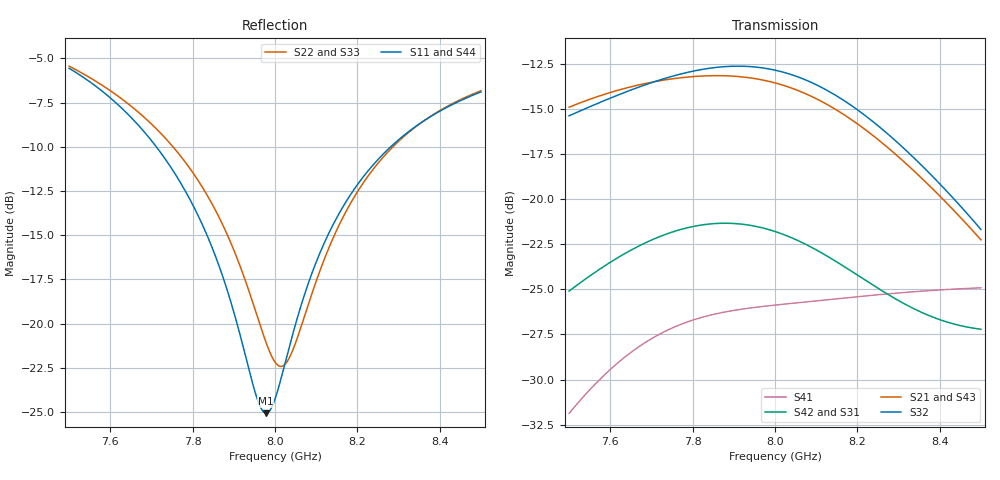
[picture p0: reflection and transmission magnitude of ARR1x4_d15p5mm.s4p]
! Touchstone file exported from HFSS 2025.1.0
!  File:  C:/Users/user/Documents/Ansoft/TFG_UWB-MIMO-Array.aedt
!  Generated:  05:34:56 PM Nov 20, 2026
!  Design:  ARR1x4_P01_MS2_dparam
!  Project:  TFG_UWB-MIMO-Array
!  Setup:  Setup_ch9
!  Solution:  Sweep_7p5_8p5
! Variables:
!  arr_d = 15.5mm
!  board_m = 13mm
!  board_x = 72.5mm
!  board_y = 26mm
!  cu_t = 0.035mm
!  line_w = 3.92mm
!  pad_xy = 22mm
!  pad_zn = 25mm
!  pad_zp = 33mm
!  patch_L = 7.322mm
!  patch_W = 11.421266mm
!  sub_h = 2.07mm
!  tr_l = 7.1mm
!  tr_w = 0.8mm
# GHz S MA R 50.000000
! Terminal data exported
! Port[1] = P1
! Port[2] = P2
! Port[3] = P3
! Port[4] = P4
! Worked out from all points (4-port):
!   1001 points, 7.5 GHz to 8.5 GHz, reference 50 ohm
!   strongest paths, dB at 7.5 GHz, 7.75 GHz, 8 GHz, 8.25 GHz, 8.5 GHz:
!     S32: -15.4, -13.2, -12.9, -15.9, -21.7
!     S21: -14.9, -13.3, -13.6, -16.7, -22.3
!     S43: -14.9, -13.4, -13.6, -16.7, -22.3
!     S42: -25.1, -21.8, -21.8, -24.9, -27.2
!     S31: -25.1, -21.8, -21.8, -25.0, -27.3
!     S41: -31.9, -27.1, -25.9, -25.3, -24.9
!   lowest |S11| = -25.1 dB at 7.978 GHz (marker M1), VSWR 1.12, Z = 55.3 + j2.51 ohm
!   |S11| at or under -10 dB: 7.712 GHz to 8.281 GHz (569.4 MHz wide, 7.12 % of centre)
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7.5  0.5269 160.5  0.1796 -18.7  0.05555 -140.3  0.0255 70.6
     0.1796 -18.7  0.5341 165.2  0.17 -15.3  0.05561 -140.6
     0.05555 -140.3  0.17 -15.3  0.5331 165.0  0.1792 -18.6
     0.0255 70.6  0.05561 -140.6  0.1792 -18.6  0.5287 160.7
7.779  0.2407 122.5  0.2172 -70.0  0.08273 146.7  0.04531 -28.6
       0.2172 -70.0  0.2892 130.8  0.2231 -64.1  0.08281 146.4
       0.08273 146.7  0.2231 -64.1  0.2888 130.2  0.2165 -69.9
       0.04531 -28.6  0.08281 146.4  0.2165 -69.9  0.242 122.5
7.882  0.1265 98.2  0.2193 -90.7  0.08555 114.2  0.04875 -71.8
       0.2193 -90.7  0.1807 109.1  0.2327 -85.7  0.08569 113.9
       0.08555 114.2  0.2327 -85.7  0.181 107.9  0.2185 -90.6
       0.04875 -71.8  0.08569 113.9  0.2185 -90.6  0.1274 98.1
7.978  0.05583 23.9  0.2126 -111.0  0.08249 81.6  0.05052 -113.8
       0.2126 -111.0  0.08869 62.5  0.23 -107.2  0.08271 81.4
       0.08249 81.6  0.23 -107.2  0.09133 60.7  0.2118 -110.8
       0.05052 -113.8  0.08271 81.4  0.2118 -110.8  0.05681 24.2
8.031  0.08272 -30.5  0.2046 -122.5  0.07862 62.9  0.05127 -137.2
       0.2046 -122.5  0.07868 8.0  0.2226 -119.4  0.07891 62.7
       0.07862 62.9  0.2226 -119.4  0.08262 8.1  0.2037 -122.2
       0.05127 -137.2  0.07891 62.7  0.2037 -122.2  0.0834 -29.9
8.187  0.2349 -78.4  0.1654 -155.4  0.0625 5.6  0.05344 157.5
       0.1654 -155.4  0.2226 -68.7  0.181 -154.3  0.06296 5.5
       0.0625 5.6  0.181 -154.3  0.2244 -67.7  0.1648 -155.1
       0.05344 157.5  0.06296 5.5  0.1648 -155.1  0.2354 -78.0
8.5  0.4517 -118.5  0.0771 150.1  0.04309 -105.8  0.05677 58.7
     0.0771 150.1  0.4551 -116.2  0.08238 149.4  0.04359 -105.2
     0.04309 -105.8  0.08238 149.4  0.4564 -115.7  0.07703 151.0
     0.05677 58.7  0.04359 -105.2  0.07703 151.0  0.4527 -118.1
